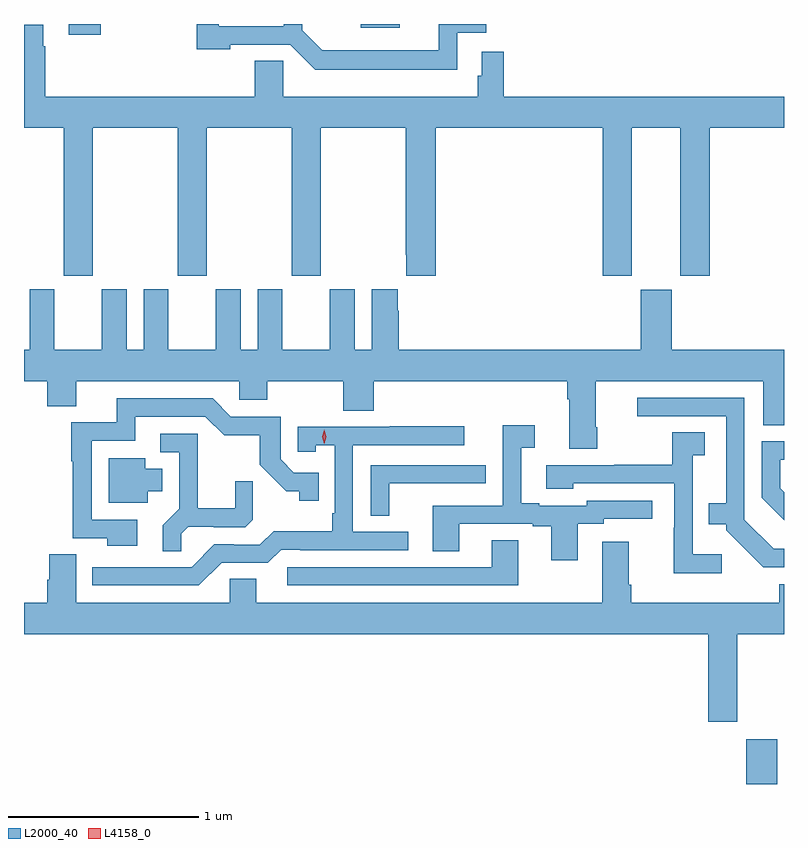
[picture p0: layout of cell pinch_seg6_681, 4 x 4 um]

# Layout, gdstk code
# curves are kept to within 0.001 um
import gdstk
lib = gdstk.Library(unit=1e-6, precision=1e-09)
def R(c, l, rs):  # rectangles x0, y0, x1, y1
    for r in rs: c.add(gdstk.rectangle(r[:2], r[2:], *l))
def P(c, l, *ps):  # polygons
    for p in ps: c.add(gdstk.Polygon(p, *l))
L2000_40 = (2000, 40)
L4158_0 = (4158, 0)

pinch_seg6_681 = lib.new_cell('pinch_seg6_681')
R(pinch_seg6_681, L2000_40, [(464.153,939.887,464.317,940.123), (460.589,943.83,460.757,943.887), (462.125,943.868,462.331,943.887)])
P(pinch_seg6_681, L2000_40, [(462.633,943.842),(462.785,943.842),(462.785,943.887),(462.536,943.887),(462.536,943.75),(461.922,943.749),(461.817,943.854),(461.817,943.887),(461.721,943.887),(461.721,943.875),(461.379,943.875),(461.379,943.887),(461.263,943.887),(461.263,943.754),(461.439,943.754),(461.439,943.779),(461.754,943.779),(461.887,943.646),(462.633,943.646)],
  [(462.878,943.741),(462.762,943.741),(462.762,943.614),(462.742,943.614),(462.742,943.504),(461.717,943.504),(461.717,943.694),(461.567,943.694),(461.567,943.504),(460.466,943.504),(460.466,943.769),(460.453,943.769),(460.453,943.882),(460.353,943.882),(460.353,943.34),(460.561,943.34),(460.561,942.561),(460.716,942.561),(460.716,943.34),(461.161,943.34),(461.161,942.561),(461.316,942.561),(461.316,943.34),(461.761,943.34),(461.761,942.561),(461.916,942.561),(461.916,943.34),(462.361,943.34),(462.361,942.673),(462.365,942.673),(462.365,942.561),(462.521,942.561),(462.521,943.34),(463.4,943.34),(463.4,942.561),(463.552,942.561),(463.552,943.34),(463.808,943.34),(463.808,942.561),(463.961,942.561),(463.961,943.34),(464.353,943.34),(464.353,943.504),(462.878,943.504)],
  [(463.371,941.764),(463.363,941.764),(463.363,942.008),(464.243,942.008),(464.243,941.776),(464.353,941.776),(464.353,942.172),(463.762,942.172),(463.762,942.489),(463.598,942.489),(463.598,942.172),(462.326,942.172),(462.326,942.377),(462.319,942.377),(462.319,942.49),(462.182,942.49),(462.182,942.172),(462.094,942.172),(462.094,942.49),(461.963,942.49),(461.963,942.172),(461.713,942.172),(461.713,942.49),(461.582,942.49),(461.582,942.172),(461.494,942.172),(461.494,942.49),(461.363,942.49),(461.363,942.172),(461.113,942.172),(461.113,942.49),(460.982,942.49),(460.982,942.172),(460.894,942.172),(460.894,942.49),(460.763,942.49),(460.763,942.172),(460.513,942.172),(460.513,942.49),(460.382,942.49),(460.382,942.172),(460.353,942.172),(460.353,942.008),(460.475,942.008),(460.475,941.875),(460.627,941.875),(460.627,942.008),(461.487,942.008),(461.487,941.91),(461.634,941.91),(461.634,942.008),(462.034,942.008),(462.034,941.851),(462.194,941.851),(462.194,942.008),(463.211,942.008),(463.211,941.912),(463.223,941.912),(463.223,941.652),(463.371,941.652)],
  [(464.353,941.124),(464.298,941.124),(464.145,941.277),(464.145,941.919),(463.581,941.919),(463.581,941.823),(464.048,941.823),(464.048,941.365),(463.957,941.365),(463.957,941.255),(464.049,941.255),(464.049,941.223),(464.244,941.028),(464.353,941.028)],
  [(460.948,941.277),(460.71,941.277),(460.71,941.694),(460.939,941.694),(460.939,941.82),(461.307,941.82),(461.406,941.722),(461.595,941.722),(461.595,941.566),(461.732,941.429),(461.802,941.429),(461.802,941.379),(461.903,941.379),(461.903,941.526),(461.772,941.526),(461.703,941.595),(461.703,941.82),(461.442,941.82),(461.346,941.916),(460.841,941.916),(460.841,941.79),(460.602,941.79),(460.602,941.587),(460.609,941.587),(460.609,941.181),(460.792,941.181),(460.792,941.141),(460.948,941.141)],
  [(463.267,941.256),(463.404,941.256),(463.404,941.283),(463.66,941.283),(463.66,941.379),(463.314,941.379),(463.314,941.352),(463.066,941.352),(463.066,941.365),(462.97,941.365),(462.97,941.656),(463.042,941.656),(463.042,941.776),(462.873,941.776),(462.873,941.352),(462.503,941.352),(462.503,941.113),(462.643,941.113),(462.643,941.256),(463.031,941.256),(463.031,941.244),(463.127,941.244),(463.127,941.064),(463.267,941.064)],
  [(461.394,941.052),(461.637,941.052),(461.706,941.121),(461.806,941.121),(461.806,941.118),(462.376,941.118),(462.376,941.214),(462.084,941.214),(462.084,941.67),(462.67,941.67),(462.67,941.769),(462.277,941.769),(462.277,941.766),(461.793,941.766),(461.793,941.637),(461.889,941.637),(461.889,941.669),(461.988,941.669),(461.988,941.311),(461.976,941.311),(461.976,941.218),(461.668,941.218),(461.595,941.145),(461.456,941.145),(461.456,941.148),(461.355,941.148),(461.235,941.028),(460.712,941.028),(460.712,940.932),(461.274,940.932)],
  [(464.026,941.095),(463.872,941.095),(463.872,941.617),(463.936,941.617),(463.936,941.738),(463.764,941.738),(463.764,941.568),(463.459,941.568),(463.459,941.565),(463.101,941.565),(463.101,941.441),(463.245,941.441),(463.245,941.469),(463.776,941.469),(463.776,941.237),(463.774,941.237),(463.774,940.997),(464.026,940.997)],
  [(461.181,941.204),(461.218,941.241),(461.352,941.241),(461.352,941.238),(461.517,941.238),(461.558,941.279),(461.558,941.481),(461.464,941.481),(461.464,941.338),(461.267,941.338),(461.267,941.73),(461.07,941.73),(461.07,941.634),(461.169,941.634),(461.169,941.335),(461.083,941.249),(461.083,941.113),(461.181,941.113)],
  [(464.353,941.423),(464.332,941.444),(464.332,941.594),(464.353,941.594),(464.353,941.691),(464.235,941.691),(464.235,941.393),(464.353,941.275)],
  [(461.005,941.429),(461.08,941.429),(461.08,941.545),(460.99,941.545),(460.99,941.602),(460.799,941.602),(460.799,941.366),(461.005,941.366)],
  [(462.276,941.469),(462.671,941.469),(462.671,941.47),(462.784,941.47),(462.784,941.565),(462.177,941.565),(462.177,941.299),(462.276,941.299)],
  [(462.955,941.171),(462.815,941.171),(462.815,941.028),(461.739,941.028),(461.739,940.932),(462.955,940.932)],
  [(464.107,940.676),(464.353,940.676),(464.353,940.939),(464.327,940.939),(464.327,940.84),(463.55,940.84),(463.55,940.936),(463.537,940.936),(463.537,941.161),(463.397,941.161),(463.397,940.84),(461.575,940.84),(461.575,940.967),(461.436,940.967),(461.436,940.84),(460.627,940.84),(460.627,941.096),(460.487,941.096),(460.487,940.962),(460.475,940.962),(460.475,940.84),(460.353,940.84),(460.353,940.676),(463.955,940.676),(463.955,940.215),(464.107,940.215)])
P(pinch_seg6_681, L4158_0, [(461.934,941.679),(461.934,941.679),(461.924,941.715),(461.934,941.75),(461.934,941.751),(461.934,941.75),(461.944,941.715),(461.934,941.679)])

lib.write_gds('pinch_seg6_681.gds')
